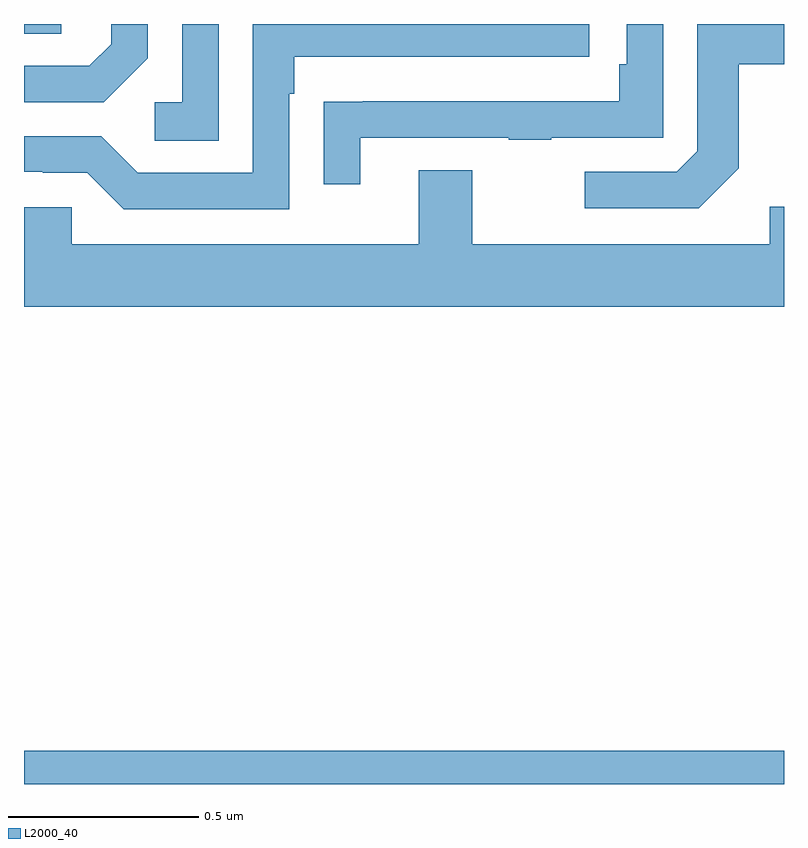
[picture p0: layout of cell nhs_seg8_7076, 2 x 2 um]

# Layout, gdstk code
import gdstk
lib = gdstk.Library(unit=1e-6, precision=1e-09)
def R(c, l, rs):  # rectangles x0, y0, x1, y1
    for r in rs: c.add(gdstk.rectangle(r[:2], r[2:], *l))
def P(c, l, *ps):  # polygons
    for p in ps: c.add(gdstk.Polygon(p, *l))
L2000_40 = (2000, 40)

nhs_seg8_7076 = lib.new_cell('nhs_seg8_7076')
R(nhs_seg8_7076, L2000_40, [(205,1125.9,207,1125.988), (205,1127.875,205.098,1127.9)])
P(nhs_seg8_7076, L2000_40, [(205.326,1127.81),(205.326,1127.9),(205.229,1127.9),(205.229,1127.847),(205.172,1127.79),(205,1127.79),(205,1127.694),(205.21,1127.694)],
  [(205.885,1127.601),(206.275,1127.601),(206.275,1127.596),(206.387,1127.596),(206.387,1127.601),(206.682,1127.601),(206.682,1127.9),(206.586,1127.9),(206.586,1127.794),(206.566,1127.794),(206.566,1127.697),(205.891,1127.697),(205.891,1127.696),(205.789,1127.696),(205.789,1127.478),(205.885,1127.478)],
  [(206.881,1127.521),(206.881,1127.794),(207,1127.794),(207,1127.9),(206.772,1127.9),(206.772,1127.565),(206.718,1127.511),(206.475,1127.511),(206.475,1127.415),(206.775,1127.415)],
  [(205.698,1127.717),(205.711,1127.717),(205.711,1127.814),(206.488,1127.814),(206.488,1127.9),(205.602,1127.9),(205.602,1127.508),(205.299,1127.508),(205.203,1127.604),(205,1127.604),(205,1127.511),(205.049,1127.511),(205.049,1127.508),(205.167,1127.508),(205.263,1127.412),(205.698,1127.412)],
  [(205.512,1127.9),(205.416,1127.9),(205.416,1127.694),(205.344,1127.694),(205.344,1127.593),(205.512,1127.593)],
  [(207,1127.419),(206.963,1127.419),(206.963,1127.32),(206.179,1127.32),(206.179,1127.515),(206.039,1127.515),(206.039,1127.32),(205.125,1127.32),(205.125,1127.418),(205,1127.418),(205,1127.156),(207,1127.156)])

lib.write_gds('nhs_seg8_7076.gds')
